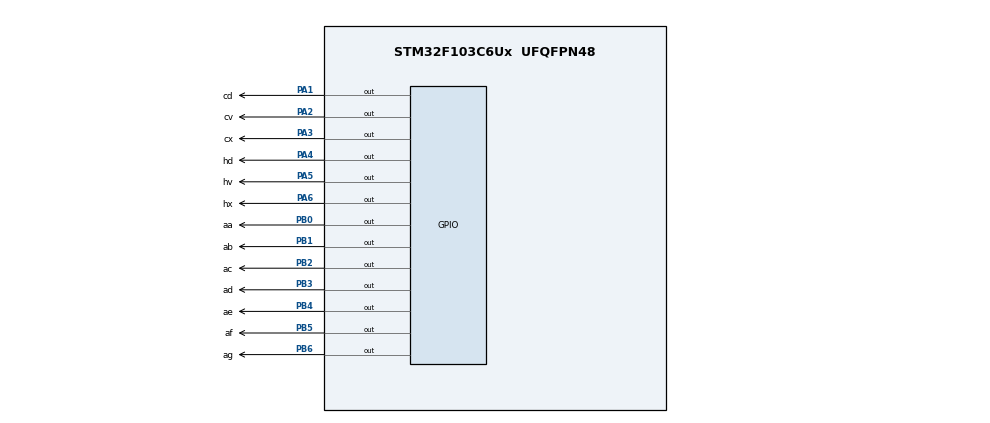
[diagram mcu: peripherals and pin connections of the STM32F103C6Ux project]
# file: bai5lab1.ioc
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Mcu.Family=STM32F1
Mcu.Name=STM32F103C6Ux
Mcu.Package=UFQFPN48
NVIC.PriorityGroup=NVIC_PRIORITYGROUP_4
PA1.GPIO_Label=cd
PA1.Signal=GPIO_Output
PA2.GPIO_Label=cv
PA2.Signal=GPIO_Output
PA3.GPIO_Label=cx
PA3.Signal=GPIO_Output
PA4.GPIO_Label=hd
PA4.Signal=GPIO_Output
PA5.GPIO_Label=hv
PA5.Signal=GPIO_Output
PA6.GPIO_Label=hx
PA6.Signal=GPIO_Output
PB0.GPIO_Label=aa
PB0.Signal=GPIO_Output
PB1.GPIO_Label=ab
PB1.Signal=GPIO_Output
PB2.GPIO_Label=ac
PB2.Signal=GPIO_Output
PB3.GPIO_Label=ad
PB3.Signal=GPIO_Output
PB4.GPIO_Label=ae
PB4.Signal=GPIO_Output
PB5.GPIO_Label=af
PB5.Signal=GPIO_Output
PB6.GPIO_Label=ag
PB6.Signal=GPIO_Output
ProjectManager.HeapSize=0x200
ProjectManager.StackSize=0x400
ProjectManager.TargetToolchain=STM32CubeIDE
RCC.APB1Freq_Value=8000000
RCC.APB2Freq_Value=8000000
VP_SYS_VS_ND.Mode=No_Debug
board=custom

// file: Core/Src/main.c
/* USER CODE BEGIN Header */
/**
  ******************************************************************************
  * @file           : main.c
  * @brief          : Main program body
  ******************************************************************************
  * @attention
  *
  * <h2><center>&copy; Copyright (c) 2022 STMicroelectronics.
  * All rights reserved.</center></h2>
  *
  * This software component is licensed by ST under BSD 3-Clause license,
  * the "License"; You may not use this file except in compliance with the
  * License. You may obtain a copy of the License at:
  *                        opensource.org/licenses/BSD-3-Clause
  *
  ******************************************************************************
  */
/* USER CODE END Header */
#include "main.h"

void SystemClock_Config(void);
static void MX_GPIO_Init(void);

/* USER CODE BEGIN 0 */
void display7SEG(int num) {
	if (num ==0) {
		HAL_GPIO_WritePin ( aa_GPIO_Port , aa_Pin ,	  GPIO_PIN_RESET );
		HAL_GPIO_WritePin ( ab_GPIO_Port , ab_Pin ,	  GPIO_PIN_RESET );
		HAL_GPIO_WritePin ( ac_GPIO_Port , ac_Pin ,	  GPIO_PIN_RESET );
		HAL_GPIO_WritePin ( ad_GPIO_Port , ad_Pin ,	  GPIO_PIN_RESET );
		HAL_GPIO_WritePin ( ae_GPIO_Port , ae_Pin ,	  GPIO_PIN_RESET );
		HAL_GPIO_WritePin ( af_GPIO_Port , af_Pin ,	  GPIO_PIN_RESET );
		HAL_GPIO_WritePin ( ag_GPIO_Port , ag_Pin ,	  GPIO_PIN_SET );
	}
	if (num ==1) {
		HAL_GPIO_WritePin ( aa_GPIO_Port , aa_Pin ,	  GPIO_PIN_SET );
		HAL_GPIO_WritePin ( ab_GPIO_Port , ab_Pin ,	  GPIO_PIN_RESET );
		HAL_GPIO_WritePin ( ac_GPIO_Port , ac_Pin ,	  GPIO_PIN_RESET );
		HAL_GPIO_WritePin ( ad_GPIO_Port , ad_Pin ,	  GPIO_PIN_SET );
		HAL_GPIO_WritePin ( ae_GPIO_Port , ae_Pin ,	  GPIO_PIN_SET );
		HAL_GPIO_WritePin ( af_GPIO_Port , af_Pin ,	  GPIO_PIN_SET );
		HAL_GPIO_WritePin ( ag_GPIO_Port , ag_Pin ,	  GPIO_PIN_SET );
	}
	if (num ==2) {
		HAL_GPIO_WritePin ( aa_GPIO_Port , aa_Pin ,	  GPIO_PIN_RESET );
		HAL_GPIO_WritePin ( ab_GPIO_Port , ab_Pin ,	  GPIO_PIN_RESET );
		HAL_GPIO_WritePin ( ac_GPIO_Port , ac_Pin ,	  GPIO_PIN_SET );
		HAL_GPIO_WritePin ( ad_GPIO_Port , ad_Pin ,	  GPIO_PIN_RESET );
		HAL_GPIO_WritePin ( ae_GPIO_Port , ae_Pin ,	  GPIO_PIN_RESET );
		HAL_GPIO_WritePin ( af_GPIO_Port , af_Pin ,	  GPIO_PIN_SET );
		HAL_GPIO_WritePin ( ag_GPIO_Port , ag_Pin ,	  GPIO_PIN_RESET );
	}
	if (num ==3) {
		HAL_GPIO_WritePin ( aa_GPIO_Port , aa_Pin ,	  GPIO_PIN_RESET );
		HAL_GPIO_WritePin ( ab_GPIO_Port , ab_Pin ,	  GPIO_PIN_RESET );
		HAL_GPIO_WritePin ( ac_GPIO_Port , ac_Pin ,	  GPIO_PIN_RESET );
		HAL_GPIO_WritePin ( ad_GPIO_Port , ad_Pin ,	  GPIO_PIN_RESET );
		HAL_GPIO_WritePin ( ae_GPIO_Port , ae_Pin ,	  GPIO_PIN_SET );
		HAL_GPIO_WritePin ( af_GPIO_Port , af_Pin ,	  GPIO_PIN_SET );
		HAL_GPIO_WritePin ( ag_GPIO_Port , ag_Pin ,	  GPIO_PIN_RESET );
	}
	if (num ==4) {
		HAL_GPIO_WritePin ( aa_GPIO_Port , aa_Pin ,	  GPIO_PIN_SET );
		HAL_GPIO_WritePin ( ab_GPIO_Port , ab_Pin ,	  GPIO_PIN_RESET );
		HAL_GPIO_WritePin ( ac_GPIO_Port , ac_Pin ,	  GPIO_PIN_RESET );
		HAL_GPIO_WritePin ( ad_GPIO_Port , ad_Pin ,	  GPIO_PIN_SET );
		HAL_GPIO_WritePin ( ae_GPIO_Port , ae_Pin ,	  GPIO_PIN_SET );
		HAL_GPIO_WritePin ( af_GPIO_Port , af_Pin ,	  GPIO_PIN_RESET );
		HAL_GPIO_WritePin ( ag_GPIO_Port , ag_Pin ,	  GPIO_PIN_RESET );
	}
	if (num ==5) {
		HAL_GPIO_WritePin ( aa_GPIO_Port , aa_Pin ,	  GPIO_PIN_RESET );
		HAL_GPIO_WritePin ( ab_GPIO_Port , ab_Pin ,	  GPIO_PIN_SET );
		HAL_GPIO_WritePin ( ac_GPIO_Port , ac_Pin ,	  GPIO_PIN_RESET );
		HAL_GPIO_WritePin ( ad_GPIO_Port , ad_Pin ,	  GPIO_PIN_RESET );
		HAL_GPIO_WritePin ( ae_GPIO_Port , ae_Pin ,	  GPIO_PIN_SET );
		HAL_GPIO_WritePin ( af_GPIO_Port , af_Pin ,	  GPIO_PIN_RESET );
		HAL_GPIO_WritePin ( ag_GPIO_Port , ag_Pin ,	  GPIO_PIN_RESET );
	}
	if (num ==6) {
		HAL_GPIO_WritePin ( aa_GPIO_Port , aa_Pin ,	  GPIO_PIN_RESET );
		HAL_GPIO_WritePin ( ab_GPIO_Port , ab_Pin ,	  GPIO_PIN_SET );
		HAL_GPIO_WritePin ( ac_GPIO_Port , ac_Pin ,	  GPIO_PIN_RESET );
		HAL_GPIO_WritePin ( ad_GPIO_Port , ad_Pin ,	  GPIO_PIN_RESET );
		HAL_GPIO_WritePin ( ae_GPIO_Port , ae_Pin ,	  GPIO_PIN_RESET );
		HAL_GPIO_WritePin ( af_GPIO_Port , af_Pin ,	  GPIO_PIN_RESET );
		HAL_GPIO_WritePin ( ag_GPIO_Port , ag_Pin ,	  GPIO_PIN_RESET );
	}
	if (num ==7) {
		HAL_GPIO_WritePin ( aa_GPIO_Port , aa_Pin ,	  GPIO_PIN_RESET );
		HAL_GPIO_WritePin ( ab_GPIO_Port , ab_Pin ,	  GPIO_PIN_RESET );
		HAL_GPIO_WritePin ( ac_GPIO_Port , ac_Pin ,	  GPIO_PIN_RESET );
		HAL_GPIO_WritePin ( ad_GPIO_Port , ad_Pin ,	  GPIO_PIN_SET );
		HAL_GPIO_WritePin ( ae_GPIO_Port , ae_Pin ,	  GPIO_PIN_SET );
		HAL_GPIO_WritePin ( af_GPIO_Port , af_Pin ,	  GPIO_PIN_SET );
		HAL_GPIO_WritePin ( ag_GPIO_Port , ag_Pin ,	  GPIO_PIN_SET );
	}
	if (num ==8) {
		HAL_GPIO_WritePin ( aa_GPIO_Port , aa_Pin ,	  GPIO_PIN_RESET );
		HAL_GPIO_WritePin ( ab_GPIO_Port , ab_Pin ,	  GPIO_PIN_RESET );
		HAL_GPIO_WritePin ( ac_GPIO_Port , ac_Pin ,	  GPIO_PIN_RESET );
		HAL_GPIO_WritePin ( ad_GPIO_Port , ad_Pin ,	  GPIO_PIN_RESET );
		HAL_GPIO_WritePin ( ae_GPIO_Port , ae_Pin ,	  GPIO_PIN_RESET );
		HAL_GPIO_WritePin ( af_GPIO_Port , af_Pin ,	  GPIO_PIN_RESET );
		HAL_GPIO_WritePin ( ag_GPIO_Port , ag_Pin ,	  GPIO_PIN_RESET );
	}
	if (num ==9) {
		HAL_GPIO_WritePin ( aa_GPIO_Port , aa_Pin ,	  GPIO_PIN_RESET );
		HAL_GPIO_WritePin ( ab_GPIO_Port , ab_Pin ,	  GPIO_PIN_RESET );
		HAL_GPIO_WritePin ( ac_GPIO_Port , ac_Pin ,	  GPIO_PIN_RESET );
		HAL_GPIO_WritePin ( ad_GPIO_Port , ad_Pin ,	  GPIO_PIN_RESET );
		HAL_GPIO_WritePin ( ae_GPIO_Port , ae_Pin ,	  GPIO_PIN_SET );
		HAL_GPIO_WritePin ( af_GPIO_Port , af_Pin ,	  GPIO_PIN_RESET );
		HAL_GPIO_WritePin ( ag_GPIO_Port , ag_Pin ,	  GPIO_PIN_RESET );
	}
}
/* USER CODE END 0 */

int main(void)
{

  /* MCU Configuration--------------------------------------------------------*/

  /* Reset of all peripherals, Initializes the Flash interface and the Systick. */
  HAL_Init();

  /* Configure the system clock */
  SystemClock_Config();

  /* Initialize all configured peripherals */
  MX_GPIO_Init();

  /* Infinite loop */
  /* USER CODE BEGIN WHILE */
  int counter = 3;
  int phase = 0;
  while (1)
   {
	  if (phase == 0) { // cot xanh sang 3s
	 	  HAL_GPIO_WritePin ( hd_GPIO_Port , hd_Pin ,	  GPIO_PIN_RESET );
	 	  HAL_GPIO_WritePin ( hv_GPIO_Port , hv_Pin ,	  GPIO_PIN_SET );
	 	  HAL_GPIO_WritePin ( hx_GPIO_Port , hx_Pin ,	  GPIO_PIN_SET );
	 	  //
	 	  HAL_GPIO_WritePin ( cd_GPIO_Port , cd_Pin ,	  GPIO_PIN_SET );
	 	  HAL_GPIO_WritePin ( cv_GPIO_Port , cv_Pin ,	  GPIO_PIN_SET );
	 	  HAL_GPIO_WritePin ( cx_GPIO_Port , cx_Pin ,	  GPIO_PIN_RESET );
	 	  display7SEG ( counter --) ;
	 	  if (counter <=0 && phase == 0) {
	 		  phase =1;
	 		  counter = 2;
	 	  }
	  }
	  else if (phase == 1) { //cot vang sang 2s
	 	  HAL_GPIO_WritePin ( hd_GPIO_Port , hd_Pin ,	  GPIO_PIN_RESET );
	 	  HAL_GPIO_WritePin ( hv_GPIO_Port , hv_Pin ,	  GPIO_PIN_SET );
	 	  HAL_GPIO_WritePin ( hx_GPIO_Port , hx_Pin ,	  GPIO_PIN_SET );
	 	  //
	 	  HAL_GPIO_WritePin ( cd_GPIO_Port , cd_Pin ,	  GPIO_PIN_SET );
	 	  HAL_GPIO_WritePin ( cv_GPIO_Port , cv_Pin ,	  GPIO_PIN_RESET );
	 	  HAL_GPIO_WritePin ( cx_GPIO_Port , cx_Pin ,	  GPIO_PIN_SET );
	 	  display7SEG ( counter --) ;
	 	  if (counter <=0 && phase == 1) {
	 		  phase =2;
	 		  counter = 5;
	 	  }
	  }
	  else if (phase ==2) { //cot do sang 3s
	 	  HAL_GPIO_WritePin ( hd_GPIO_Port , hd_Pin ,	  GPIO_PIN_SET );
	 	  HAL_GPIO_WritePin ( hv_GPIO_Port , hv_Pin ,	  GPIO_PIN_SET );
	 	  HAL_GPIO_WritePin ( hx_GPIO_Port , hx_Pin ,	  GPIO_PIN_RESET );
	 	  //
	 	  HAL_GPIO_WritePin ( cd_GPIO_Port , cd_Pin ,	  GPIO_PIN_RESET );
	 	  HAL_GPIO_WritePin ( cv_GPIO_Port , cv_Pin ,	  GPIO_PIN_SET );
	 	  HAL_GPIO_WritePin ( cx_GPIO_Port , cx_Pin ,	  GPIO_PIN_SET );
	 	  display7SEG ( counter --) ;
	 	  if (counter <=2 && phase == 2) {
	 		  phase =3;
	 	  }
	  }
	  else if (phase ==3) { //cot do sang 2s
	 	  HAL_GPIO_WritePin ( hd_GPIO_Port , hd_Pin ,	  GPIO_PIN_SET );
	 	  HAL_GPIO_WritePin ( hv_GPIO_Port , hv_Pin ,	  GPIO_PIN_RESET );
	 	  HAL_GPIO_WritePin ( hx_GPIO_Port , hx_Pin ,	  GPIO_PIN_SET );
	 	  //
	 	  HAL_GPIO_WritePin ( cd_GPIO_Port , cd_Pin ,	  GPIO_PIN_RESET );
	 	  HAL_GPIO_WritePin ( cv_GPIO_Port , cv_Pin ,	  GPIO_PIN_SET );
	 	  HAL_GPIO_WritePin ( cx_GPIO_Port , cx_Pin ,	  GPIO_PIN_SET );
	 	  display7SEG ( counter --) ;
	 	  if (counter <=0 && phase == 3) {
	 		  phase =0;
	 		  counter =3;
	 	  }
	  }
 	  HAL_Delay (1000);
	  //

    /* USER CODE END WHILE */

   }
}

void SystemClock_Config(void)
{
  RCC_OscInitTypeDef RCC_OscInitStruct = {0};
  RCC_ClkInitTypeDef RCC_ClkInitStruct = {0};

  /** Initializes the RCC Oscillators according to the specified parameters
  * in the RCC_OscInitTypeDef structure.
  */
  RCC_OscInitStruct.OscillatorType = RCC_OSCILLATORTYPE_HSI;
  RCC_OscInitStruct.HSIState = RCC_HSI_ON;
  RCC_OscInitStruct.HSICalibrationValue = RCC_HSICALIBRATION_DEFAULT;
  RCC_OscInitStruct.PLL.PLLState = RCC_PLL_NONE;
  if (HAL_RCC_OscConfig(&RCC_OscInitStruct) != HAL_OK)
  {
    Error_Handler();
  }
  /** Initializes the CPU, AHB and APB buses clocks
  */
  RCC_ClkInitStruct.ClockType = RCC_CLOCKTYPE_HCLK|RCC_CLOCKTYPE_SYSCLK
                              |RCC_CLOCKTYPE_PCLK1|RCC_CLOCKTYPE_PCLK2;
  RCC_ClkInitStruct.SYSCLKSource = RCC_SYSCLKSOURCE_HSI;
  RCC_ClkInitStruct.AHBCLKDivider = RCC_SYSCLK_DIV1;
  RCC_ClkInitStruct.APB1CLKDivider = RCC_HCLK_DIV1;
  RCC_ClkInitStruct.APB2CLKDivider = RCC_HCLK_DIV1;

  if (HAL_RCC_ClockConfig(&RCC_ClkInitStruct, FLASH_LATENCY_0) != HAL_OK)
  {
    Error_Handler();
  }
}

static void MX_GPIO_Init(void)
{
  GPIO_InitTypeDef GPIO_InitStruct = {0};

  /* GPIO Ports Clock Enable */
  __HAL_RCC_GPIOA_CLK_ENABLE();
  __HAL_RCC_GPIOB_CLK_ENABLE();

  /*Configure GPIO pin Output Level */
  HAL_GPIO_WritePin(GPIOA, cd_Pin|cv_Pin|cx_Pin|hd_Pin
                          |hv_Pin|hx_Pin, GPIO_PIN_RESET);

  /*Configure GPIO pin Output Level */
  HAL_GPIO_WritePin(GPIOB, aa_Pin|ab_Pin|ac_Pin|ad_Pin
                          |ae_Pin|af_Pin|ag_Pin, GPIO_PIN_RESET);

  /*Configure GPIO pins : cd_Pin cv_Pin cx_Pin hd_Pin
                           hv_Pin hx_Pin */
  GPIO_InitStruct.Pin = cd_Pin|cv_Pin|cx_Pin|hd_Pin
                          |hv_Pin|hx_Pin;
  GPIO_InitStruct.Mode = GPIO_MODE_OUTPUT_PP;
  GPIO_InitStruct.Pull = GPIO_NOPULL;
  GPIO_InitStruct.Speed = GPIO_SPEED_FREQ_LOW;
  HAL_GPIO_Init(GPIOA, &GPIO_InitStruct);

  /*Configure GPIO pins : aa_Pin ab_Pin ac_Pin ad_Pin
                           ae_Pin af_Pin ag_Pin */
  GPIO_InitStruct.Pin = aa_Pin|ab_Pin|ac_Pin|ad_Pin
                          |ae_Pin|af_Pin|ag_Pin;
  GPIO_InitStruct.Mode = GPIO_MODE_OUTPUT_PP;
  GPIO_InitStruct.Pull = GPIO_NOPULL;
  GPIO_InitStruct.Speed = GPIO_SPEED_FREQ_LOW;
  HAL_GPIO_Init(GPIOB, &GPIO_InitStruct);

}

void Error_Handler(void)
{
  __disable_irq();
  while (1)
  {
  }
}

/************************ (C) COPYRIGHT STMicroelectronics *****END OF FILE****/
